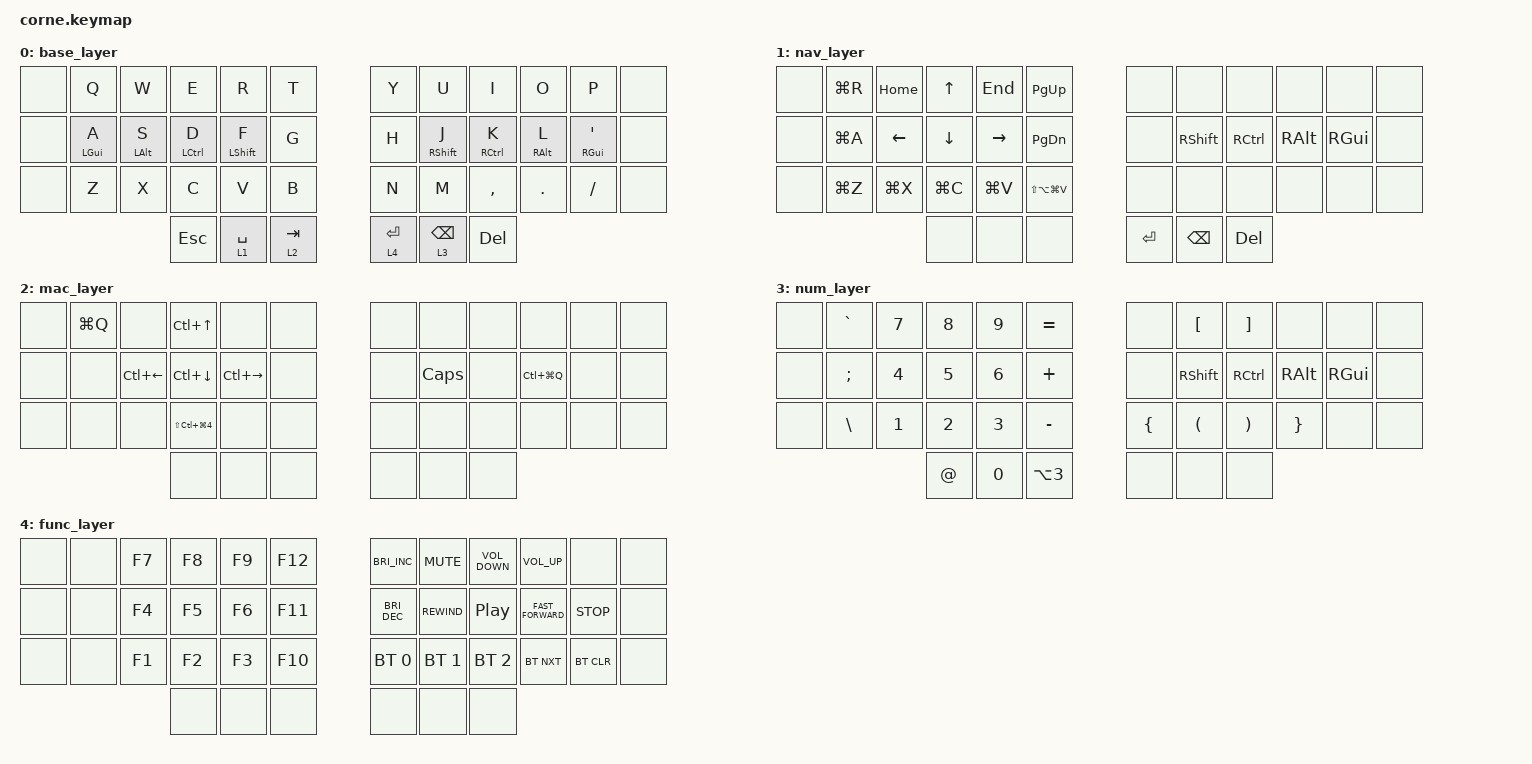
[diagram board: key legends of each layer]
/*
 * Copyright (c) 2020 The ZMK Contributors
 *
 * SPDX-License-Identifier: MIT
 */

#include <behaviors.dtsi>
#include <dt-bindings/zmk/bt.h>
#include <dt-bindings/zmk/keys.h>

// LAYERS

#define DEFAULT 0
#define NUM     1
#define SYM     2
#define FUNC    3

// MACROS

#define SUPER LC(LSHIFT)
#define SUPER2 LA(LC(LSHIFT))

/ {
    behaviors {
        hm: homerow_mods {
            compatible = "zmk,behavior-hold-tap";
            label = "HOMEROW_MODS";
            #binding-cells = <2>;
            tapping-term-ms = <250>;
            quick-tap-ms = <0>;
            flavor = "balanced";
            bindings = <&kp>, <&kp>;
        };
    };

    combos {
        compatible = "zmk,combos";

        combo_cword {
            timeout-ms = <50>;
            key-positions = <19 16>;
            bindings = <&caps_word>;
            layers = <0>;
        };
    };

    keymap {
        compatible = "zmk,keymap";

        base_layer {
            bindings = <
&none  &kp Q       &kp W       &kp E        &kp R         &kp T        &kp Y      &kp U            &kp I        &kp O       &kp P         &none
&none  &hm LGUI A  &hm LALT S  &hm LCTRL D  &hm LSHIFT F  &kp G        &kp H      &hm RSHIFT J     &hm RCTRL K  &hm RALT L  &hm RGUI SQT  &none
&none  &kp Z       &kp X       &kp C        &kp V         &kp B        &kp N      &kp M            &kp COMMA    &kp DOT     &kp FSLH      &none
                               &kp ESC      &lt 1 SPACE   &lt 2 TAB    &lt 4 RET  &lt 3 BACKSPACE  &kp DELETE
            >;
        };

        nav_layer {
            bindings = <
&none  &kp LG(R)  &kp HOME   &kp UP     &kp END    &kp PG_UP            &none      &none            &none       &none          &none          &none
&none  &kp LG(A)  &kp LEFT   &kp DOWN   &kp RIGHT  &kp PG_DN            &none      &kp RIGHT_SHIFT  &kp RCTRL   &kp RIGHT_ALT  &kp RIGHT_GUI  &none
&none  &kp LG(Z)  &kp LG(X)  &kp LG(C)  &kp LG(V)  &kp LS(LA(LG(V)))    &none      &none            &none       &none          &none          &none
                             &none      &none      &none                &kp ENTER  &kp BACKSPACE    &kp DELETE
            >;
        };

        mac_layer {
            bindings = <
&none  &kp LG(Q)  &none         &kp LC(UP_ARROW)          &none          &none    &none  &none     &none  &none          &none  &none
&none  &none      &kp LC(LEFT)  &kp LC(DOWN_ARROW)        &kp LC(RIGHT)  &none    &none  &kp CLCK  &none  &kp LC(LG(Q))  &none  &none
&none  &none      &none         &kp LS(LC(LG(NUMBER_4)))  &none          &none    &none  &none     &none  &none          &none  &none
                                &none                     &none          &none    &none  &none     &none
            >;
        };

        num_layer {
            bindings = <
&none  &kp GRAVE      &kp N7        &kp N8        &kp N9        &kp EQUAL           &none           &kp LEFT_BRACKET      &kp RIGHT_BRACKET      &none            &none          &none
&none  &kp SEMICOLON  &kp NUMBER_4  &kp N5        &kp NUMBER_6  &kp PLUS            &none           &kp RIGHT_SHIFT       &kp RCTRL              &kp RIGHT_ALT    &kp RIGHT_GUI  &none
&none  &kp BACKSLASH  &kp NUMBER_1  &kp NUMBER_2  &kp NUMBER_3  &kp MINUS           &kp LEFT_BRACE  &kp LEFT_PARENTHESIS  &kp RIGHT_PARENTHESIS  &kp RIGHT_BRACE  &none          &none
                                    &kp AT        &kp N0        &kp LA(NUMBER_3)    &none           &none                 &none
            >;
        };

        func_layer {
            bindings = <
&none  &none  &kp F7  &kp F8  &kp F9  &kp F12    &kp C_BRIGHTNESS_INC  &kp K_MUTE    &kp C_VOLUME_DOWN  &kp C_VOLUME_UP     &none       &none
&none  &none  &kp F4  &kp F5  &kp F6  &kp F11    &kp C_BRIGHTNESS_DEC  &kp C_REWIND  &kp C_PLAY_PAUSE   &kp C_FAST_FORWARD  &kp C_STOP  &none
&none  &none  &kp F1  &kp F2  &kp F3  &kp F10    &bt BT_SEL 0          &bt BT_SEL 1  &bt BT_SEL 2       &bt BT_NXT          &bt BT_CLR  &none
                      &none   &none   &none      &none                 &none         &none
            >;
        };
    };
};
